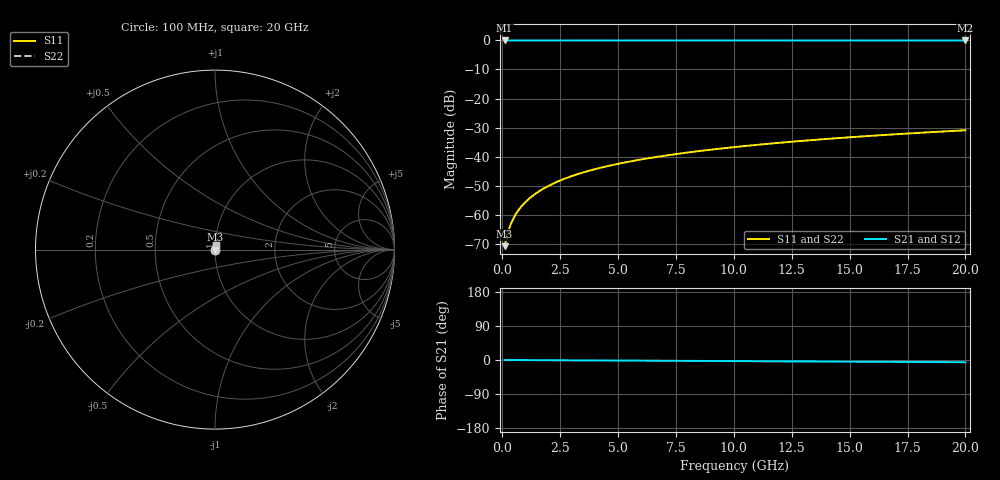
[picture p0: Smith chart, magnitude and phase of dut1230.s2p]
! Touchstone file exported from HFSS 2026.1.0
!  File:  C:/ffzhzh/LocalFiles/Ansys_Project_Files/temp_train_TSV_1230_1783193246_22436.aedt
!  Generated:  03:28:57 AM Jul  5, 2026
!  Design:  TSV
!  Project:  temp_train_TSV_1230_1783193246_22436
! Variables:
!  h_bsmrdl = 2um
!  h_ox = 20um
!  h_rdl = 5um
!  h_sub = 53.91um
!  h_tmrdl = 5um
!  h_tsv = 53.91um
!  h_via = 3um
!  l_bsmrdl = 300um
!  l_sub = 411.44um
!  l_tmrdl = 200um
!  m_sub = 200um
!  pitch = 33.16um
!  r_tsv = 5.72um
!  s_tmrdl = 10um
!  w_bsmrdl = 18um
!  w_sub = 500um
!  w_tmrdl = 12um
!  x_tsv_center1 = 206um
!  x_tsv_center2 = 524um
!  x_tsv_center3 = 736um
!  x_tsv_center4 = 1054um
!  x_tsv_center5 = 1266um
!  x_tsv_center6 = 1584um
# GHz S MA R 50.000000
! Terminal data exported
! Port[1] = TSV1_1_T1
! Port[2] = TSV1_1_T2
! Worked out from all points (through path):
!   200 points, 100 MHz to 20 GHz, reference 50 ohm
!   highest |S21| = 0.00 dB at 100 MHz (marker M1); lowest = 0.0 dB at 20 GHz (marker M2)
!   lowest |S11| = -70.8 dB at 100 MHz (marker M3), VSWR 1.00, Z = 50 + j0.0178 ohm
!   |S11| at or under -10 dB: start of sweep to end of sweep
!   |S22| runs from -70.8 to -30.9 dB; largest |S21 - S12| = 1.2e-15
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0.1  0.0002873 38.2  0.9998 -0.0  0.9998 -0.0  0.0002873 38.2
! Gamma 0 0 0 0
! Port Impedance 50 0 50 0
0.2  0.0004244 56.1  0.9998 -0.1  0.9998 -0.1  0.0004244 56.1
0.3  0.0005796 64.2  0.9997 -0.1  0.9997 -0.1  0.0005796 64.2
0.4  0.0007372 68.6  0.9997 -0.1  0.9997 -0.1  0.0007372 68.6
0.5  0.0008932 71.3  0.9997 -0.2  0.9997 -0.2  0.0008932 71.3
0.6  0.001047 73.1  0.9997 -0.2  0.9997 -0.2  0.001047 73.1
0.8  0.00135 75.7  0.9997 -0.2  0.9997 -0.2  0.00135 75.7
1.1  0.0018 78.1  0.9996 -0.3  0.9996 -0.3  0.0018 78.1
1.3  0.002098 79.2  0.9996 -0.4  0.9996 -0.4  0.002098 79.2
1.6  0.002546 80.4  0.9996 -0.5  0.9996 -0.5  0.002546 80.4
2.1  0.003292 81.6  0.9995 -0.6  0.9995 -0.6  0.003292 81.6
2.7  0.004181 82.3  0.9995 -0.8  0.9995 -0.8  0.004181 82.3
3.5  0.005355 82.9  0.9994 -1.0  0.9994 -1.0  0.005355 82.9
4.2  0.00637 83.1  0.9993 -1.2  0.9993 -1.2  0.00637 83.1
5  0.007519 83.2  0.9993 -1.5  0.9993 -1.5  0.007519 83.2
5.9  0.0088 83.3  0.9992 -1.7  0.9992 -1.7  0.0088 83.3
6.8  0.01007 83.3  0.9991 -2.0  0.9991 -2.0  0.01007 83.3
8.3  0.01218 83.3  0.999 -2.4  0.999 -2.4  0.01218 83.3
10.1  0.0147 83.1  0.9989 -3.0  0.9989 -3.0  0.0147 83.1
13.4  0.0193 82.7  0.9987 -3.9  0.9987 -3.9  0.0193 82.7
16.7  0.02388 82.1  0.9984 -4.9  0.9984 -4.9  0.02388 82.1
20  0.02842 81.3  0.9982 -5.8  0.9982 -5.8  0.02842 81.3
